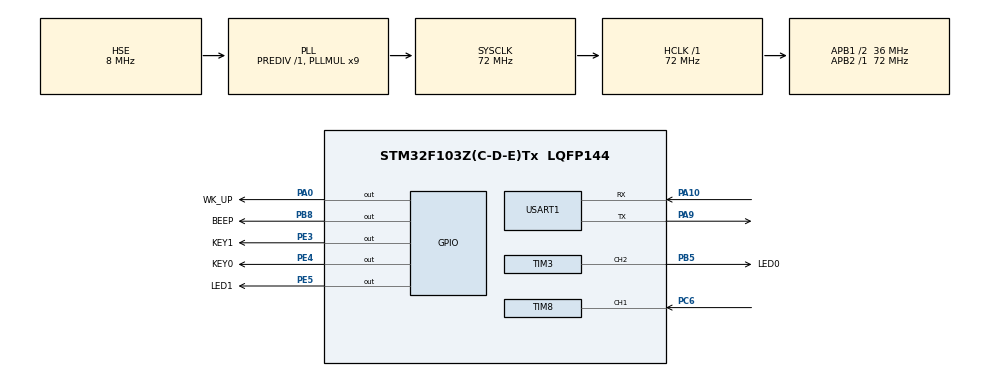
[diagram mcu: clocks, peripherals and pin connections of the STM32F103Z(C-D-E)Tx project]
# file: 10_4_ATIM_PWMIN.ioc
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Mcu.Family=STM32F1
Mcu.Name=STM32F103Z(C-D-E)Tx
Mcu.Package=LQFP144
NVIC.PriorityGroup=NVIC_PRIORITYGROUP_2
NVIC.TIM8_CC_IRQn=true\:2\:1\:true\:false\:true\:true\:true\:true
NVIC.TIM8_UP_IRQn=true\:2\:1\:true\:false\:true\:true\:true\:true
NVIC.USART1_IRQn=true\:2\:2\:true\:false\:true\:true\:true\:true
OSC_IN.Mode=HSE-External-Oscillator
OSC_IN.Signal=RCC_OSC_IN
OSC_OUT.Mode=HSE-External-Oscillator
OSC_OUT.Signal=RCC_OSC_OUT
PA0-WKUP.GPIO_Label=WK_UP
PA0-WKUP.GPIO_PuPd=GPIO_PULLDOWN
PA0-WKUP.GPIO_Speed=GPIO_SPEED_FREQ_HIGH
PA0-WKUP.PinState=GPIO_PIN_RESET
PA0-WKUP.Signal=GPIO_Output
PA10.Mode=Asynchronous
PA10.Signal=USART1_RX
PA13.Mode=Serial_Wire
PA13.Signal=SYS_JTMS-SWDIO
PA14.Mode=Serial_Wire
PA14.Signal=SYS_JTCK-SWCLK
PA9.Mode=Asynchronous
PA9.Signal=USART1_TX
PB5.GPIO_Label=LED0
PB5.GPIO_Speed=GPIO_SPEED_FREQ_HIGH
PB5.Signal=S_TIM3_CH2
PB8.GPIO_Label=BEEP
PB8.GPIO_ModeDefaultOutputPP=GPIO_MODE_OUTPUT_PP
PB8.GPIO_PuPd=GPIO_PULLDOWN
PB8.GPIO_Speed=GPIO_SPEED_FREQ_HIGH
PB8.PinState=GPIO_PIN_RESET
PB8.Signal=GPIO_Output
PC14-OSC32_IN.Mode=LSE-External-Oscillator
PC14-OSC32_IN.Signal=RCC_OSC32_IN
PC15-OSC32_OUT.Mode=LSE-External-Oscillator
PC15-OSC32_OUT.Signal=RCC_OSC32_OUT
PC6.GPIO_PuPd=GPIO_PULLDOWN
PC6.Signal=S_TIM8_CH1
PE3.GPIO_Label=KEY1
PE3.GPIO_PuPd=GPIO_PULLUP
PE3.GPIO_Speed=GPIO_SPEED_FREQ_HIGH
PE3.PinState=GPIO_PIN_SET
PE3.Signal=GPIO_Output
PE4.GPIO_Label=KEY0
PE4.GPIO_PuPd=GPIO_PULLUP
PE4.GPIO_Speed=GPIO_SPEED_FREQ_HIGH
PE4.PinState=GPIO_PIN_SET
PE4.Signal=GPIO_Output
PE5.GPIO_Label=LED1
PE5.GPIO_PuPd=GPIO_PULLUP
PE5.GPIO_Speed=GPIO_SPEED_FREQ_HIGH
PE5.PinState=GPIO_PIN_SET
PE5.Signal=GPIO_Output
ProjectManager.HeapSize=0x200
ProjectManager.StackSize=0x400
ProjectManager.TargetToolchain=STM32CubeIDE
RCC.AHBFreq_Value=72000000
RCC.APB1CLKDivider=RCC_HCLK_DIV2
RCC.APB1Freq_Value=36000000
RCC.APB1TimFreq_Value=72000000
RCC.APB2Freq_Value=72000000
RCC.APB2TimFreq_Value=72000000
RCC.HCLKFreq_Value=72000000
RCC.PLLMUL=RCC_PLL_MUL9
RCC.PLLSourceVirtual=RCC_PLLSOURCE_HSE
RCC.SYSCLKFreq_VALUE=72000000
RCC.SYSCLKSource=RCC_SYSCLKSOURCE_PLLCLK
RCC.USBFreq_Value=72000000
SH.S_TIM3_CH2.0=TIM3_CH2,PWM Generation2 CH2
SH.S_TIM8_CH1.0=TIM8_CH1,TriggerSource_TI1FP1
SH.S_TIM8_CH1.1=TIM8_CH1,Input_Capture1_from_TI1
TIM3.AutoReloadPreload=TIM_AUTORELOAD_PRELOAD_ENABLE
TIM3.Channel-PWM\ Generation2\ CH2=TIM_CHANNEL_2
TIM3.OCPolarity_2=TIM_OCPOLARITY_LOW
TIM3.Period=10 - 1
TIM3.Prescaler=72 - 1
TIM3.Pulse-PWM\ Generation2\ CH2=5
TIM8.AutoReloadPreload=TIM_AUTORELOAD_PRELOAD_ENABLE
TIM8.Channel-Input_Capture1_from_TI1=TIM_CHANNEL_1
TIM8.Channel-Input_Capture2_from_TI1_63=TIM_CHANNEL_2
TIM8.ICPolarity_CH2=TIM_INPUTCHANNELPOLARITY_FALLING
TIM8.TIM_MasterOutputTrigger=TIM_TRGO_RESET
TIM8.TIM_MasterSlaveMode=TIM_MASTERSLAVEMODE_DISABLE
USART1.VirtualMode=VM_ASYNC
VP_TIM3_VS_ClockSourceINT.Mode=Internal
VP_TIM8_VS_ClockSourceINT.Mode=Internal
VP_TIM8_VS_ControllerModeReset.Mode=Reset Mode
VP_TIM8_VS_indirect_ch1.Mode=Input_Capture2_from_TI1_63
board=custom

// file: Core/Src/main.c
/* USER CODE BEGIN Header */

/* USER CODE END Header */
#include "main.h"
#include "tim.h"
#include "usart.h"
#include "gpio.h"

/* USER CODE BEGIN Includes */
#include "../../BSP/LED/led.h"
#include "../../BSP/KEY/key.h"
#include "../../SYSTEM/delay/delay.h"
/* USER CODE END Includes */

void SystemClock_Config(void);
/* USER CODE BEGIN PFP */

extern uint16_t g_timxchy_pwmin_psc;    /* PWM输入状态 */
extern uint16_t g_timxchy_pwmin_sta;    /* PWM输入状态 */
extern uint32_t g_timxchy_pwmin_hval;   /* PWM的高电平脉宽 */
extern uint32_t g_timxchy_pwmin_cval;   /* PWM的周期宽度 */
/* USER CODE END PFP */

int main(void)
{
  /* USER CODE BEGIN 1 */
    uint8_t t = 0;
    float ht, ct, f, tpsc;
  /* USER CODE END 1 */

  /* MCU Configuration--------------------------------------------------------*/

  /* Reset of all peripherals, Initializes the Flash interface and the Systick. */
  HAL_Init();

  /* Configure the system clock */
  SystemClock_Config();

  /* USER CODE BEGIN SysInit */
  delay_init(72);						   	/* 初始化延时函数 */
  /* USER CODE END SysInit */

  /* Initialize all configured peripherals */
  MX_GPIO_Init();
  MX_USART1_UART_Init();
  MX_TIM3_Init();
  MX_TIM8_Init();

  /* Infinite loop */
  /* USER CODE BEGIN WHILE */
  while (1)
  {
	  delay_ms(10);
	  t++;

	  if (t >= 20)    /* 每200ms输出一次结果,并闪烁LED0,提示程序运行 */
	  {
		  if (g_timxchy_pwmin_sta)    /* 捕获了一次数据 */
		  {
			  printf("\r\n");                                     /* 输出空,另起一行 */
			  printf("PWM PSC  :%u\r\n", g_timxchy_pwmin_psc);    /* 打印分频系数 */
			  printf("PWM Hight:%lu\r\n", g_timxchy_pwmin_hval);  /* 打印高电平脉宽 */
			  printf("PWM Cycle:%lu\r\n", g_timxchy_pwmin_cval);  /* 打印周期 */
			  tpsc = ((double)g_timxchy_pwmin_psc + 1) / 72;      /* 得到PWM采样时钟周期时间 */
			  ht = g_timxchy_pwmin_hval * tpsc;                   /* 计算高电平时间 */
			  ct = g_timxchy_pwmin_cval * tpsc;                   /* 计算周期长度 */
			  f = (1 / ct) * 1000000;                             /* 计算频率 */
			  printf("PWM Hight time:%.3fus\r\n", ht);            /* 打印高电平脉宽长度 */
			  printf("PWM Cycle time:%.3fus\r\n", ct);            /* 打印周期时间长度 */
			  printf("PWM Frequency :%.3fHz\r\n", f);             /* 打印频率 */
			  atim_timx_pwmin_chy_restart(); 				      /* 重启PWM输入检测 */
		  }

		  LED1_TOGGLE();  										  /* LED1（GREEN）闪烁 */
		  t = 0;
	  }

    /* USER CODE END WHILE */

  }
}

void SystemClock_Config(void)
{
  RCC_OscInitTypeDef RCC_OscInitStruct = {0};
  RCC_ClkInitTypeDef RCC_ClkInitStruct = {0};

  /** Initializes the RCC Oscillators according to the specified parameters
  * in the RCC_OscInitTypeDef structure.
  */
  RCC_OscInitStruct.OscillatorType = RCC_OSCILLATORTYPE_HSE;
  RCC_OscInitStruct.HSEState = RCC_HSE_ON;
  RCC_OscInitStruct.HSEPredivValue = RCC_HSE_PREDIV_DIV1;
  RCC_OscInitStruct.HSIState = RCC_HSI_ON;
  RCC_OscInitStruct.PLL.PLLState = RCC_PLL_ON;
  RCC_OscInitStruct.PLL.PLLSource = RCC_PLLSOURCE_HSE;
  RCC_OscInitStruct.PLL.PLLMUL = RCC_PLL_MUL9;
  if (HAL_RCC_OscConfig(&RCC_OscInitStruct) != HAL_OK)
  {
    Error_Handler();
  }

  /** Initializes the CPU, AHB and APB buses clocks
  */
  RCC_ClkInitStruct.ClockType = RCC_CLOCKTYPE_HCLK|RCC_CLOCKTYPE_SYSCLK
                              |RCC_CLOCKTYPE_PCLK1|RCC_CLOCKTYPE_PCLK2;
  RCC_ClkInitStruct.SYSCLKSource = RCC_SYSCLKSOURCE_PLLCLK;
  RCC_ClkInitStruct.AHBCLKDivider = RCC_SYSCLK_DIV1;
  RCC_ClkInitStruct.APB1CLKDivider = RCC_HCLK_DIV2;
  RCC_ClkInitStruct.APB2CLKDivider = RCC_HCLK_DIV1;

  if (HAL_RCC_ClockConfig(&RCC_ClkInitStruct, FLASH_LATENCY_2) != HAL_OK)
  {
    Error_Handler();
  }
}

void Error_Handler(void)
{
  __disable_irq();
  while (1)
  {
  }
}
